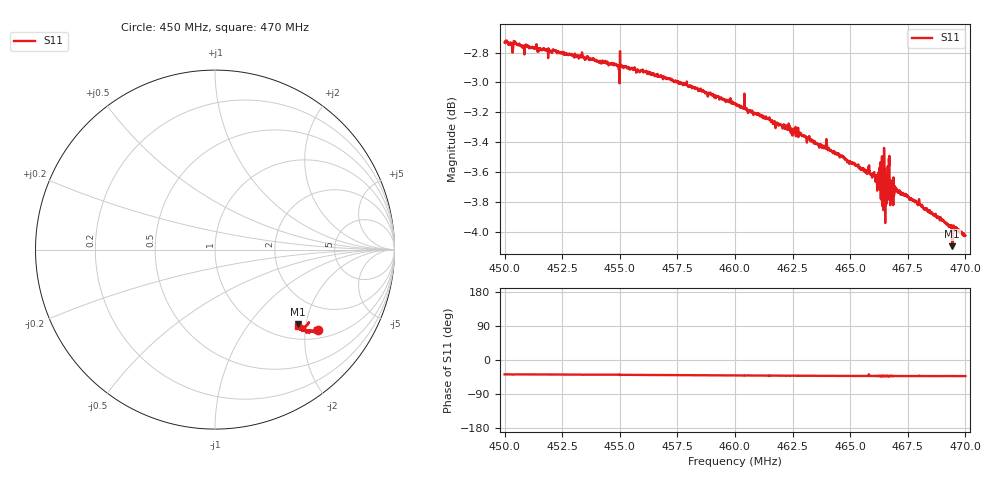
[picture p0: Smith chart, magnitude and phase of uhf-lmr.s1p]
! Calibrated averaged scanner-service zoom
# Hz S RI R 50
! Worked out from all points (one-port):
!   2001 points, 450 MHz to 470 MHz, reference 50 ohm
!   lowest |S11| = -4.1 dB at 469.43 MHz (marker M1), VSWR 4.32, Z = 66.2 - j90.4 ohm
!   |S11| at or under -10 dB: nowhere
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4.5e8  0.5761 -0.4486
4.5027e8  0.575 -0.4494
4.5049e8  0.5752 -0.4485
4.525e8  0.5674 -0.4497
4.55e8  0.5522 -0.4578
4.551e8  0.5564 -0.452
4.575e8  0.543 -0.4543
4.6e8  0.5281 -0.4539
4.6229e8  0.5135 -0.4511
4.625e8  0.5112 -0.4512
4.6368e8  0.5043 -0.4484
4.6398e8  0.5025 -0.4531
4.65e8  0.4944 -0.4454
4.6568e8  0.4903 -0.4433
4.6572e8  0.4902 -0.4428
4.6575e8  0.4903 -0.4436
4.6589e8  0.4889 -0.4425
4.6593e8  0.4886 -0.4433
4.6597e8  0.4887 -0.4414
4.6641e8  0.4804 -0.4277
4.6649e8  0.4764 -0.433
4.6668e8  0.4971 -0.4457
4.6683e8  0.482 -0.4324
4.6698e8  0.4825 -0.438
4.675e8  0.4787 -0.4368
4.6798e8  0.4764 -0.4346
4.6943e8  0.4638 -0.4173
4.7e8  0.4639 -0.4247
